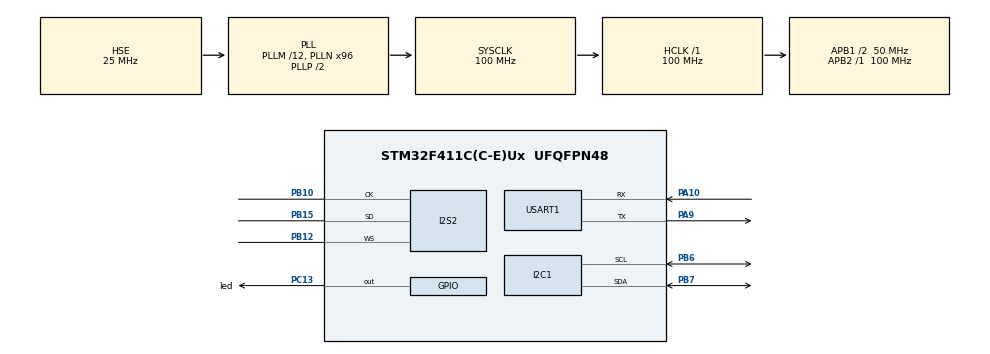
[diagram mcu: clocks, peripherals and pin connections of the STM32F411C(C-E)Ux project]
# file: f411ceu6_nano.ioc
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Dma.Request0=USART1_RX
Dma.Request1=USART1_TX
Dma.Request2=SPI2_TX
Dma.SPI2_TX.2.Direction=DMA_MEMORY_TO_PERIPH
Dma.SPI2_TX.2.FIFOMode=DMA_FIFOMODE_DISABLE
Dma.SPI2_TX.2.Instance=DMA1_Stream4
Dma.SPI2_TX.2.MemDataAlignment=DMA_MDATAALIGN_BYTE
Dma.SPI2_TX.2.MemInc=DMA_MINC_ENABLE
Dma.SPI2_TX.2.Mode=DMA_NORMAL
Dma.SPI2_TX.2.PeriphDataAlignment=DMA_PDATAALIGN_BYTE
Dma.SPI2_TX.2.PeriphInc=DMA_PINC_DISABLE
Dma.SPI2_TX.2.Priority=DMA_PRIORITY_LOW
Dma.USART1_RX.0.Direction=DMA_PERIPH_TO_MEMORY
Dma.USART1_RX.0.FIFOMode=DMA_FIFOMODE_DISABLE
Dma.USART1_RX.0.Instance=DMA2_Stream2
Dma.USART1_RX.0.MemDataAlignment=DMA_MDATAALIGN_BYTE
Dma.USART1_RX.0.MemInc=DMA_MINC_ENABLE
Dma.USART1_RX.0.Mode=DMA_NORMAL
Dma.USART1_RX.0.PeriphDataAlignment=DMA_PDATAALIGN_BYTE
Dma.USART1_RX.0.PeriphInc=DMA_PINC_DISABLE
Dma.USART1_RX.0.Priority=DMA_PRIORITY_LOW
Dma.USART1_TX.1.Direction=DMA_MEMORY_TO_PERIPH
Dma.USART1_TX.1.FIFOMode=DMA_FIFOMODE_DISABLE
Dma.USART1_TX.1.Instance=DMA2_Stream7
Dma.USART1_TX.1.MemDataAlignment=DMA_MDATAALIGN_BYTE
Dma.USART1_TX.1.MemInc=DMA_MINC_ENABLE
Dma.USART1_TX.1.Mode=DMA_NORMAL
Dma.USART1_TX.1.PeriphDataAlignment=DMA_PDATAALIGN_BYTE
Dma.USART1_TX.1.PeriphInc=DMA_PINC_DISABLE
Dma.USART1_TX.1.Priority=DMA_PRIORITY_LOW
FREERTOS.Tasks01=defaultTask,24,128,StartDefaultTask,Default,NULL,Dynamic,NULL,NULL
I2S2.ErrorAudioFreq=0.46 %
I2S2.FullDuplexMode=I2S_FULLDUPLEXMODE_DISABLE
I2S2.Instance=SPI$Index
I2S2.RealAudioFreq=8.037 KHz
I2S2.VirtualMode=I2S_MODE_MASTER
Mcu.Family=STM32F4
Mcu.Name=STM32F411C(C-E)Ux
Mcu.Package=UFQFPN48
Mcu.UserConstants=led_timer,1
NVIC.DMA1_Stream4_IRQn=true\:5\:0\:false\:false\:true\:true\:false\:true\:true
NVIC.DMA2_Stream2_IRQn=true\:5\:0\:false\:false\:true\:true\:false\:true\:true
NVIC.DMA2_Stream7_IRQn=true\:5\:0\:false\:false\:true\:true\:false\:true\:true
NVIC.I2C1_ER_IRQn=true\:5\:0\:false\:false\:true\:true\:true\:true\:true
NVIC.I2C1_EV_IRQn=true\:5\:0\:false\:false\:true\:true\:true\:true\:true
NVIC.PriorityGroup=NVIC_PRIORITYGROUP_4
NVIC.SPI2_IRQn=true\:5\:0\:false\:false\:true\:true\:true\:true\:true
NVIC.TIM1_UP_TIM10_IRQn=true\:5\:0\:false\:false\:true\:true\:false\:true\:true
NVIC.TimeBase=TIM1_UP_TIM10_IRQn
NVIC.TimeBaseIP=TIM10
NVIC.USART1_IRQn=true\:5\:0\:false\:false\:true\:true\:true\:true\:true
PA10.Mode=Asynchronous
PA10.Signal=USART1_RX
PA9.Mode=Asynchronous
PA9.Signal=USART1_TX
PB10.Mode=Half_Duplex_Master
PB10.Signal=I2S2_CK
PB12.Mode=Half_Duplex_Master
PB12.Signal=I2S2_WS
PB15.Mode=Half_Duplex_Master
PB15.Signal=I2S2_SD
PB6.Mode=I2C
PB6.Signal=I2C1_SCL
PB7.Mode=I2C
PB7.Signal=I2C1_SDA
PC13-ANTI_TAMP.GPIO_Label=led
PC13-ANTI_TAMP.Signal=GPIO_Output
PH0\ -\ OSC_IN.Mode=HSE-External-Oscillator
PH0\ -\ OSC_IN.Signal=RCC_OSC_IN
PH1\ -\ OSC_OUT.Mode=HSE-External-Oscillator
PH1\ -\ OSC_OUT.Signal=RCC_OSC_OUT
ProjectManager.HeapSize=0x800
ProjectManager.StackSize=0x800
ProjectManager.TargetToolchain=CMake
RCC.48MHZClocksFreq_Value=50000000
RCC.AHBFreq_Value=100000000
RCC.APB1CLKDivider=RCC_HCLK_DIV2
RCC.APB1Freq_Value=50000000
RCC.APB1TimFreq_Value=100000000
RCC.APB2Freq_Value=100000000
RCC.APB2TimFreq_Value=100000000
RCC.CortexFreq_Value=100000000
RCC.HCLKFreq_Value=100000000
RCC.HSE_VALUE=25000000
RCC.HSI_VALUE=16000000
RCC.LSE_VALUE=32768
RCC.PLLI2SN=80
RCC.PLLI2SR=6
RCC.PLLM=12
RCC.PLLN=96
RCC.PLLSourceVirtual=RCC_PLLSOURCE_HSE
RCC.SYSCLKFreq_VALUE=100000000
RCC.SYSCLKSource=RCC_SYSCLKSOURCE_PLLCLK
RCC.VCOOutputFreq_Value=200000000
USART1.VirtualMode=VM_ASYNC
VP_FREERTOS_VS_CMSIS_V2.Mode=CMSIS_V2
VP_SYS_VS_tim10.Mode=TIM10
board=custom

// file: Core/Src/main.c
/* USER CODE BEGIN Header */
/**
 ******************************************************************************
 * @file           : main.c
 * @brief          : Main program body
 ******************************************************************************
 * @attention
 *
 * Copyright (c) 2025 STMicroelectronics.
 * All rights reserved.
 *
 * This software is licensed under terms that can be found in the LICENSE file
 * in the root directory of this software component.
 * If no LICENSE file comes with this software, it is provided AS-IS.
 *
 ******************************************************************************
 */
/* USER CODE END Header */
#include "main.h"
#include "cmsis_os.h"

/* USER CODE BEGIN Includes */
#include "rcc.h"
#include <stdio.h>
#include "log.h"
#include "shell.h"
/* USER CODE END Includes */

I2C_HandleTypeDef hi2c1;

I2S_HandleTypeDef hi2s2;
DMA_HandleTypeDef hdma_spi2_tx;

UART_HandleTypeDef huart1;
DMA_HandleTypeDef hdma_usart1_rx;
DMA_HandleTypeDef hdma_usart1_tx;

/* Definitions for defaultTask */
osThreadId_t defaultTaskHandle;
const osThreadAttr_t defaultTask_attributes = {
    .name = "defaultTask",
    .stack_size = 128 * 4,
    .priority = (osPriority_t)osPriorityNormal,
};
/* USER CODE BEGIN PV */
int _write(int file, char *ptr, int len)
{
  (void)file; // Suppress unused parameter warning
  HAL_UART_Transmit(&huart1, (uint8_t *)ptr, len, HAL_MAX_DELAY);
  return len;
}
/* USER CODE END PV */

void SystemClock_Config(void);
static void MX_GPIO_Init(void);
static void MX_DMA_Init(void);
static void MX_USART1_UART_Init(void);
static void MX_I2C1_Init(void);
static void MX_I2S2_Init(void);
void StartDefaultTask(void *argument);

int main(void)
{

  /* MCU Configuration--------------------------------------------------------*/

  /* Reset of all peripherals, Initializes the Flash interface and the Systick. */
  HAL_Init();

  /* Configure the system clock */
  SystemClock_Config();

  /* Initialize all configured peripherals */
  MX_GPIO_Init();
  MX_DMA_Init();
  MX_USART1_UART_Init();
  MX_I2C1_Init();
  MX_I2S2_Init();
  /* USER CODE BEGIN 2 */
  log_init();   // Initialize the logging system
  shell_init(); // Initialize the shell system
  /* USER CODE END 2 */

  /* Init scheduler */
  osKernelInitialize();

  /* Create the thread(s) */
  /* creation of defaultTask */
  defaultTaskHandle = osThreadNew(StartDefaultTask, NULL, &defaultTask_attributes);

  /* Start scheduler */
  osKernelStart();

  /* We should never get here as control is now taken by the scheduler */

  /* Infinite loop */
  while (1)
  {

  }
}

void SystemClock_Config(void)
{
  RCC_OscInitTypeDef RCC_OscInitStruct = {0};
  RCC_ClkInitTypeDef RCC_ClkInitStruct = {0};

  /** Configure the main internal regulator output voltage
   */
  __HAL_RCC_PWR_CLK_ENABLE();
  __HAL_PWR_VOLTAGESCALING_CONFIG(PWR_REGULATOR_VOLTAGE_SCALE1);

  /** Initializes the RCC Oscillators according to the specified parameters
   * in the RCC_OscInitTypeDef structure.
   */
  RCC_OscInitStruct.OscillatorType = RCC_OSCILLATORTYPE_HSE;
  RCC_OscInitStruct.HSEState = RCC_HSE_ON;
  RCC_OscInitStruct.PLL.PLLState = RCC_PLL_ON;
  RCC_OscInitStruct.PLL.PLLSource = RCC_PLLSOURCE_HSE;
  RCC_OscInitStruct.PLL.PLLM = 12;
  RCC_OscInitStruct.PLL.PLLN = 96;
  RCC_OscInitStruct.PLL.PLLP = RCC_PLLP_DIV2;
  RCC_OscInitStruct.PLL.PLLQ = 4;
  if (HAL_RCC_OscConfig(&RCC_OscInitStruct) != HAL_OK)
  {
    Error_Handler();
  }

  /** Initializes the CPU, AHB and APB buses clocks
   */
  RCC_ClkInitStruct.ClockType = RCC_CLOCKTYPE_HCLK | RCC_CLOCKTYPE_SYSCLK | RCC_CLOCKTYPE_PCLK1 | RCC_CLOCKTYPE_PCLK2;
  RCC_ClkInitStruct.SYSCLKSource = RCC_SYSCLKSOURCE_PLLCLK;
  RCC_ClkInitStruct.AHBCLKDivider = RCC_SYSCLK_DIV1;
  RCC_ClkInitStruct.APB1CLKDivider = RCC_HCLK_DIV2;
  RCC_ClkInitStruct.APB2CLKDivider = RCC_HCLK_DIV1;

  if (HAL_RCC_ClockConfig(&RCC_ClkInitStruct, FLASH_LATENCY_3) != HAL_OK)
  {
    Error_Handler();
  }
}

static void MX_I2C1_Init(void)
{

  hi2c1.Instance = I2C1;
  hi2c1.Init.ClockSpeed = 100000;
  hi2c1.Init.DutyCycle = I2C_DUTYCYCLE_2;
  hi2c1.Init.OwnAddress1 = 0;
  hi2c1.Init.AddressingMode = I2C_ADDRESSINGMODE_7BIT;
  hi2c1.Init.DualAddressMode = I2C_DUALADDRESS_DISABLE;
  hi2c1.Init.OwnAddress2 = 0;
  hi2c1.Init.GeneralCallMode = I2C_GENERALCALL_DISABLE;
  hi2c1.Init.NoStretchMode = I2C_NOSTRETCH_DISABLE;
  if (HAL_I2C_Init(&hi2c1) != HAL_OK)
  {
    Error_Handler();
  }
}

static void MX_I2S2_Init(void)
{

  hi2s2.Instance = SPI2;
  hi2s2.Init.Mode = I2S_MODE_MASTER_TX;
  hi2s2.Init.Standard = I2S_STANDARD_PHILIPS;
  hi2s2.Init.DataFormat = I2S_DATAFORMAT_16B;
  hi2s2.Init.MCLKOutput = I2S_MCLKOUTPUT_DISABLE;
  hi2s2.Init.AudioFreq = I2S_AUDIOFREQ_8K;
  hi2s2.Init.CPOL = I2S_CPOL_LOW;
  hi2s2.Init.ClockSource = I2S_CLOCK_PLL;
  hi2s2.Init.FullDuplexMode = I2S_FULLDUPLEXMODE_DISABLE;
  if (HAL_I2S_Init(&hi2s2) != HAL_OK)
  {
    Error_Handler();
  }
}

static void MX_USART1_UART_Init(void)
{

  huart1.Instance = USART1;
  huart1.Init.BaudRate = 115200;
  huart1.Init.WordLength = UART_WORDLENGTH_8B;
  huart1.Init.StopBits = UART_STOPBITS_1;
  huart1.Init.Parity = UART_PARITY_NONE;
  huart1.Init.Mode = UART_MODE_TX_RX;
  huart1.Init.HwFlowCtl = UART_HWCONTROL_NONE;
  huart1.Init.OverSampling = UART_OVERSAMPLING_16;
  if (HAL_UART_Init(&huart1) != HAL_OK)
  {
    Error_Handler();
  }
}

static void MX_DMA_Init(void)
{

  /* DMA controller clock enable */
  __HAL_RCC_DMA2_CLK_ENABLE();
  __HAL_RCC_DMA1_CLK_ENABLE();

  /* DMA interrupt init */
  /* DMA1_Stream4_IRQn interrupt configuration */
  HAL_NVIC_SetPriority(DMA1_Stream4_IRQn, 5, 0);
  HAL_NVIC_EnableIRQ(DMA1_Stream4_IRQn);
  /* DMA2_Stream2_IRQn interrupt configuration */
  HAL_NVIC_SetPriority(DMA2_Stream2_IRQn, 5, 0);
  HAL_NVIC_EnableIRQ(DMA2_Stream2_IRQn);
  /* DMA2_Stream7_IRQn interrupt configuration */
  HAL_NVIC_SetPriority(DMA2_Stream7_IRQn, 5, 0);
  HAL_NVIC_EnableIRQ(DMA2_Stream7_IRQn);
}

static void MX_GPIO_Init(void)
{
  GPIO_InitTypeDef GPIO_InitStruct = {0};

  /* GPIO Ports Clock Enable */
  __HAL_RCC_GPIOC_CLK_ENABLE();
  __HAL_RCC_GPIOH_CLK_ENABLE();
  __HAL_RCC_GPIOB_CLK_ENABLE();
  __HAL_RCC_GPIOA_CLK_ENABLE();

  /*Configure GPIO pin Output Level */
  HAL_GPIO_WritePin(led_GPIO_Port, led_Pin, GPIO_PIN_RESET);

  /*Configure GPIO pin : led_Pin */
  GPIO_InitStruct.Pin = led_Pin;
  GPIO_InitStruct.Mode = GPIO_MODE_OUTPUT_PP;
  GPIO_InitStruct.Pull = GPIO_NOPULL;
  GPIO_InitStruct.Speed = GPIO_SPEED_FREQ_LOW;
  HAL_GPIO_Init(led_GPIO_Port, &GPIO_InitStruct);

}

/* USER CODE BEGIN 4 */

TIM_HandleTypeDef TIM3_Handler; // 定时器句柄

// 通用定时器3中断初始化
// arr：自动重装值。
// psc：时钟预分频数
// 定时器溢出时间计算方法:Tout=((arr+1)*(psc+1))/Ft us.
// Ft=定时器工作频率,单位:Mhz
// 这里使用的是定时器3!
//  void TIM3_Init(uint16_t arr,uint16_t psc)
//  {
//      TIM3_Handler.Instance=TIM3;                          //通用定时器3
//      TIM3_Handler.Init.Prescaler=psc;                     //分频系数
//      TIM3_Handler.Init.CounterMode=TIM_COUNTERMODE_UP;    //向上计数器
//      TIM3_Handler.Init.Period=arr;                        //自动装载值
//      TIM3_Handler.Init.ClockDivision=TIM_CLOCKDIVISION_DIV1;//时钟分频因子
//      HAL_TIM_Base_Init(&TIM3_Handler);

//     HAL_TIM_Base_Start_IT(&TIM3_Handler); //使能定时器3和定时器3更新中断：TIM_IT_UPDATE
// }

// 定时器底册驱动，开启时钟，设置中断优先级
// 此函数会被HAL_TIM_Base_Init()函数调用
void HAL_TIM_Base_MspInit(TIM_HandleTypeDef *htim)
{
  if (htim->Instance == TIM3)
  {
    __HAL_RCC_TIM3_CLK_ENABLE();           // 使能TIM3时钟
    HAL_NVIC_SetPriority(TIM3_IRQn, 1, 3); // 设置中断优先级，抢占优先级1，子优先级3
    HAL_NVIC_EnableIRQ(TIM3_IRQn);         // 开启ITM3中断
  }
  if (htim->Instance == TIM1)
  {
    __HAL_RCC_TIM1_CLK_ENABLE();              // 使能TIM1时钟
    HAL_NVIC_SetPriority(TIM1_CC_IRQn, 1, 1); // 设置中断优先级，抢占优先级1，子优先级1
    HAL_NVIC_EnableIRQ(TIM1_CC_IRQn);         // 开启ITM1中断
  }
}

// 定时器3中断服务函数
//  void TIM1_IRQHandler(void)
//  {
//      HAL_TIM_IRQHandler(&TIM3_Handler);
//  }
#if 0
void uart_test1()
{

  char *msg = "Hello, World!                 \n";
  HAL_StatusTypeDef ret = HAL_UART_Transmit(&huart1, (uint8_t *)msg, strlen(msg), 1);
  HAL_StatusTypeDef temp_ret = ret;
  void *temp_pTxBuffPtr = huart1.pTxBuffPtr; // 0 函数返回后置空
  uint16_t TxXferSize = huart1.TxXferSize;   // 31 发送缓冲区长度
  uint16_t TxXferCount = huart1.TxXferCount; // 17 剩余未发送长度

  printf("UART transmit status: %d\n", temp_ret);
  printf("pTxBuffPtr: %p msg:%p\n", temp_pTxBuffPtr, msg); // Print the pointer to the Tx buffer
  printf("TxXferSize: %d\n", TxXferSize);                  // Print the TxXferSize
  printf("TxXferCount: %d\n", TxXferCount);                // Print the TxXferCount

  uint8_t buf[64];
  ret = HAL_UART_Receive(&huart1, (uint8_t *)buf, sizeof(buf) - 1, 1000);
  printf("UART receive status: %d\n", ret);
  printf("pRxBuffPtr: %p buf:%p\n", huart1.pRxBuffPtr, buf); // 0  函数返回后置空
  printf("RxXferSize: %d\n", huart1.RxXferSize);             // 63 接受缓冲区长度
  printf("RxXferCount: %d\n", huart1.RxXferCount);           // 62 剩余未接收长度
}

static uint8_t rx_buffer_it[256];
static uint8_t tx_buffer_it[256];
static volatile uint8_t tx_complete_flag = 0;
static volatile uint8_t rx_complete_flag = 0;
static volatile uint8_t tx_half_complete_flag = 0;
static volatile uint8_t rx_half_complete_flag = 0;
static volatile uint16_t received_length = 0;

/**
 * @brief UART发送完成回调函数
 */
void HAL_UART_TxCpltCallback(UART_HandleTypeDef *huart)
{
  if (huart->Instance == USART1)
  {
    tx_complete_flag = 1;
  }
}
void HAL_UART_TxHalfCpltCallback(UART_HandleTypeDef *huart)
{
  if (huart->Instance == USART1)
  {
    tx_half_complete_flag = 1;
  }
}

/**
 * @brief UART接收完成回调函数
 */
void HAL_UART_RxCpltCallback(UART_HandleTypeDef *huart)
{
  if (huart->Instance == USART1)
  {
    rx_complete_flag = 1;
    received_length = huart->RxXferSize;
  }
}

void HAL_UART_RxHalfCpltCallback(UART_HandleTypeDef *huart)
{
  if (huart->Instance == USART1)
  {
    rx_half_complete_flag = 1;
  }
}

/**
 * @brief UART错误回调函数
 */
void HAL_UART_ErrorCallback(UART_HandleTypeDef *huart)
{
  if (huart->Instance == USART1)
  {
    loge("UART Error occurred: 0x%08X", huart->ErrorCode);

    // 重新启动接收
    if (huart->ErrorCode & HAL_UART_ERROR_ORE)
    {
      loge("Overrun error detected, restarting RX");
      HAL_UART_Receive_IT(&huart1, rx_buffer_it, 10);
    }
  }
}

// 修正后的uart_test2函数
void uart_test2()
{
    static uint32_t test_count = 0;
    test_count++;

    logi("=== UART Test Round %lu ===", test_count);

    // 清除所有标志
    tx_complete_flag = 0;
    rx_complete_flag = 0;
    tx_half_complete_flag = 0;
    rx_half_complete_flag = 0;
    received_length = 0;

    // 确保UART处于就绪状态
    if(huart1.gState != HAL_UART_STATE_READY) {
        logw("UART TX not ready (state: %d), aborting...", huart1.gState);
        HAL_UART_AbortTransmit(&huart1);
        osDelay(10);
    }

    if(huart1.RxState != HAL_UART_STATE_READY) {
        logw("UART RX not ready (state: %d), aborting...", huart1.RxState);
        HAL_UART_AbortReceive(&huart1);
        osDelay(10);
    }

    // 清除错误标志
    __HAL_UART_CLEAR_OREFLAG(&huart1);
    huart1.ErrorCode = HAL_UART_ERROR_NONE;

    // === 发送测试 ===
    // 使用更长的消息来测试半完成中断
    const char *long_message =
        "This is a very long UART interrupt transmit test message. "
        "We need enough data to trigger the half-complete callback. "
        "The message should be long enough to demonstrate the feature. "
        "Adding more text to ensure we have sufficient bytes for testing. "
        "Even more content to make sure the half-complete interrupt works!\r\n";

    logi("Starting TX test (message length: %d bytes)", strlen(long_message));

    HAL_StatusTypeDef status = HAL_UART_Transmit_IT(&huart1, (uint8_t *)long_message, strlen(long_message));

    if (status == HAL_OK) {
        logi("Interrupt transmit started successfully");

        // 等待发送完成，检查中间状态
        uint32_t start_time = HAL_GetTick();
        uint32_t timeout = start_time + 2000; // 2秒超时

        while (!tx_complete_flag && HAL_GetTick() < timeout) {
            osDelay(1);

            // 检查半完成标志
            if (tx_half_complete_flag && !tx_complete_flag) {
                logi("✓ TX Half-complete detected!");
            }
        }

        if (tx_complete_flag) {
            uint32_t elapsed = HAL_GetTick() - start_time;
            logi("✓ TX completed in %lu ms", elapsed);
            logi("TX Half-complete flag: %s", tx_half_complete_flag ? "YES" : "NO");
        } else {
            loge("✗ TX timeout!");
            HAL_UART_AbortTransmit(&huart1);
        }
    } else {
        loge("Failed to start interrupt transmit: %d", status);
        return;
    }

    // 等待发送完全结束
    osDelay(100);

    // === 接收测试 ===
    logi("Starting RX test (expecting 5 bytes)...");
    logi("Please send exactly 5 bytes within 10 seconds");

    // 启动接收较少的字节数便于测试
    uint16_t rx_size = 5;
    status = HAL_UART_Receive_IT(&huart1, rx_buffer_it, rx_size);

    if (status == HAL_OK) {
        logi("Interrupt receive started successfully");

        // 等待接收完成
        uint32_t start_time = HAL_GetTick();
        uint32_t timeout = start_time + 10000; // 10秒超时
        uint32_t last_check_time = start_time;

        while (!rx_complete_flag && HAL_GetTick() < timeout) {
            osDelay(100);

            // 每秒显示一次进度
            if (HAL_GetTick() - last_check_time >= 1000) {
                uint16_t received_so_far = rx_size - huart1.RxXferCount;
                logi("RX Progress: %d/%d bytes (%.1f sec elapsed)",
                     received_so_far, rx_size,
                     (HAL_GetTick() - start_time) / 1000.0f);
                last_check_time = HAL_GetTick();
            }

            // 检查错误
            if (huart1.ErrorCode != HAL_UART_ERROR_NONE) {
                loge("UART Error during RX: 0x%08lX", huart1.ErrorCode);
                break;
            }
        }

        if (rx_complete_flag) {
            uint32_t elapsed = HAL_GetTick() - start_time;
            logi("✓ RX completed in %lu ms", elapsed);
            logi("Received length: %d", received_length);
            logi("RX Half-complete flag: %s", rx_half_complete_flag ? "YES" : "NO");

            // 显示接收到的数据
            rx_buffer_it[received_length] = '\0';
            logi("Received data: \"%s\"", rx_buffer_it);

            // 十六进制显示
            logi("Hex data: ");
            for(int i = 0; i < received_length; i++) {
                printf("%02X ", rx_buffer_it[i]);
            }
            printf("\r\n");

        } else {
            uint16_t partial_received = rx_size - huart1.RxXferCount;
            logw("✗ RX timeout! Received %d/%d bytes", partial_received, rx_size);

            if (partial_received > 0) {
                logi("Partial data received:");
                for(int i = 0; i < partial_received; i++) {
                    printf("%02X ", rx_buffer_it[i]);
                }
                printf("\r\n");
            }

            HAL_UART_AbortReceive(&huart1);
        }
    } else {
        loge("Failed to start interrupt receive: %d", status);

        // 分析错误原因
        if (status == HAL_BUSY) {
            loge("UART is busy - RxState: %d", huart1.RxState);
        }
    }

    logi("=== Test Round %lu Complete ===\n", test_count);
}
#endif

// uart_dma_demo.c - 真正的半完成中断
#include "main.h"
#include "log.h"

extern UART_HandleTypeDef huart1;
static uint8_t tx_dma_buffer[512];
static uint8_t rx_dma_buffer[512];
static volatile uint8_t dma_tx_complete = 0;
static volatile uint8_t dma_tx_half_complete = 0;
static volatile uint8_t dma_rx_complete = 0;
static volatile uint8_t dma_rx_half_complete = 0;

/**
 * @brief DMA发送完成回调
 */
void HAL_UART_TxCpltCallback(UART_HandleTypeDef *huart)
{
    if(huart->Instance == USART1) {
        dma_tx_complete = 1;
        logi("DMA TX Complete!");
    }
}

/**
 * @brief DMA发送半完成回调 - 这个会真正触发！
 */
void HAL_UART_TxHalfCpltCallback(UART_HandleTypeDef *huart)
{
    if(huart->Instance == USART1) {
        dma_tx_half_complete = 1;
        logi("DMA TX Half Complete!");
    }
}

/**
 * @brief DMA接收完成回调
 */
void HAL_UART_RxCpltCallback(UART_HandleTypeDef *huart)
{
    if(huart->Instance == USART1) {
        dma_rx_complete = 1;
        logi("DMA RX Complete!");
    }
}

/**
 * @brief DMA接收半完成回调 - 这个会真正触发！
 */
void HAL_UART_RxHalfCpltCallback(UART_HandleTypeDef *huart)
{
    if(huart->Instance == USART1) {
        dma_rx_half_complete = 1;
        logi("DMA RX Half Complete!");
    }
}

/**
 * @brief 测试DMA半完成中断
 */
void test_uart_dma_half_complete(void)
{
    logi("=== DMA Half-Complete Test ===");

    // 准备发送数据（足够长以触发半完成中断）
    for(unsigned int i = 0; i < sizeof(tx_dma_buffer); i++) {
        tx_dma_buffer[i] = 'A' + (i % 26); // A-Z循环
    }

    // 添加结束符
    const char* end_msg = "\r\n=== END ===\r\n";
    strcpy((char*)&tx_dma_buffer[sizeof(tx_dma_buffer) - strlen(end_msg) - 1], end_msg);

    // 重置标志
    dma_tx_complete = 0;
    dma_tx_half_complete = 0;

    logi("Starting DMA transmit of %d bytes", sizeof(tx_dma_buffer));

    // 启动DMA发送
    HAL_StatusTypeDef status = HAL_UART_Transmit_DMA(&huart1, tx_dma_buffer, sizeof(tx_dma_buffer));

    if(status == HAL_OK) {
        logi("DMA TX started successfully");

        // 等待半完成和完成
        uint32_t start_time = HAL_GetTick();
        uint8_t half_reported = 0;

        while(!dma_tx_complete && (HAL_GetTick() - start_time) < 5000) {
            if(dma_tx_half_complete && !half_reported) {
                uint32_t half_time = HAL_GetTick() - start_time;
                logi("✓ DMA TX Half-Complete detected at %lu ms", half_time);
                half_reported = 1;
            }
            osDelay(10);
        }

        if(dma_tx_complete) {
            uint32_t total_time = HAL_GetTick() - start_time;
            logi("✓ DMA TX Complete at %lu ms", total_time);
            logi("Half-complete flag: %s", dma_tx_half_complete ? "YES" : "NO");
        } else {
            loge("✗ DMA TX timeout");
            HAL_UART_AbortTransmit(&huart1);
        }
    } else {
        loge("Failed to start DMA TX: %d", status);
    }
}
#include <ctype.h>
/**
 * @brief 测试DMA接收半完成中断
 */
void test_uart_dma_rx_half_complete(void)
{
    logi("=== DMA RX Half-Complete Test ===");
    logi("Please send %d bytes to test half-complete", sizeof(rx_dma_buffer));

    // 重置标志和缓冲区
    dma_rx_complete = 0;
    dma_rx_half_complete = 0;
    memset(rx_dma_buffer, 0, sizeof(rx_dma_buffer));

    // 启动DMA接收
    HAL_StatusTypeDef status = HAL_UART_Receive_DMA(&huart1, rx_dma_buffer, sizeof(rx_dma_buffer));

    if(status == HAL_OK) {
        logi("DMA RX started successfully");

        // 等待接收
        uint32_t start_time = HAL_GetTick();
        uint8_t half_reported = 0;

        while(!dma_rx_complete && (HAL_GetTick() - start_time) < 30000) { // 30秒超时
            if(dma_rx_half_complete && !half_reported) {
                uint32_t half_time = HAL_GetTick() - start_time;
                logi("✓ DMA RX Half-Complete detected at %lu ms", half_time);
                logi("Received so far: %d bytes", sizeof(rx_dma_buffer) / 2);
                half_reported = 1;
            }

            // 显示进度
            if((HAL_GetTick() - start_time) % 2000 == 0) {
                uint16_t remaining = __HAL_DMA_GET_COUNTER(huart1.hdmarx);
                uint16_t received = sizeof(rx_dma_buffer) - remaining;
                logi("Progress: %d/%d bytes received", received, (int)sizeof(rx_dma_buffer));
            }

            osDelay(100);
        }

        if(dma_rx_complete) {
            uint32_t total_time = HAL_GetTick() - start_time;
            logi("✓ DMA RX Complete at %lu ms", total_time);
            logi("Half-complete flag: %s", dma_rx_half_complete ? "YES" : "NO");

            // 显示接收到的数据（前100字节）
            logi("First 100 bytes received:");
            for(unsigned int i = 0; i < 100 && i < sizeof(rx_dma_buffer); i++) {
                printf("%c", isprint(rx_dma_buffer[i]) ? rx_dma_buffer[i] : '.');
                if((i + 1) % 50 == 0) printf("\r\n");
            }
            printf("\r\n");
        } else {
            uint16_t remaining = __HAL_DMA_GET_COUNTER(huart1.hdmarx);
            uint16_t received = sizeof(rx_dma_buffer) - remaining;
            logw("✗ DMA RX timeout! Received %d/%d bytes", received, (int)sizeof(rx_dma_buffer));
            logw("Half-complete flag: %s", dma_rx_half_complete ? "YES" : "NO");

            HAL_UART_AbortReceive(&huart1);
        }
    } else {
        loge("Failed to start DMA RX: %d", status);
    }
}
/* USER CODE END 4 */

void StartDefaultTask(void *argument)
{
  /* USER CODE BEGIN 5 */
  (void)argument; // Prevent unused argument warning
  // TIM3_Init(1000,100);
  MX_USART1_UART_Init();
  /* Infinite loop */
  for (;;)
  {
    osDelay(1000);
    // HAL_GPIO_TogglePin(led_GPIO_Port, led_Pin); // Toggle the LED
    // SwitchSystemClock();                        // Switch the system clock
    // MX_USART1_UART_Init();                      // Reinitialize GPIO after clock switch
    // printf("System clock switched.\n"); // Print message to UART
    // uint32_t freq = HAL_RCC_GetSysClockFreq();
    // printf("System Clock Frequency: %lu Hz\n", freq); // Print the system clock frequency
    // PrintSystemClockInfo();
    // logi("elog test");
    // shell_update(); // Update the shell system

    test_uart_dma_half_complete();
    test_uart_dma_rx_half_complete();

  }
  /* USER CODE END 5 */
}

void HAL_TIM_PeriodElapsedCallback(TIM_HandleTypeDef *htim)
{
  /* USER CODE BEGIN Callback 0 */
  if (htim->Instance == TIM1)
  {
    HAL_GPIO_TogglePin(led_GPIO_Port, led_Pin); // LED1反转
  }
  /* USER CODE END Callback 0 */
  if (htim->Instance == TIM10)
  {
    HAL_IncTick();
  }
}

void Error_Handler(void)
{
  /* USER CODE BEGIN Error_Handler_Debug */
  /* User can add his own implementation to report the HAL error return state */
  __disable_irq();
  while (1)
  {
    HAL_GPIO_WritePin(led_GPIO_Port, led_Pin, GPIO_PIN_RESET); // Turn on the LED to indicate error
  }
  /* USER CODE END Error_Handler_Debug */
}
